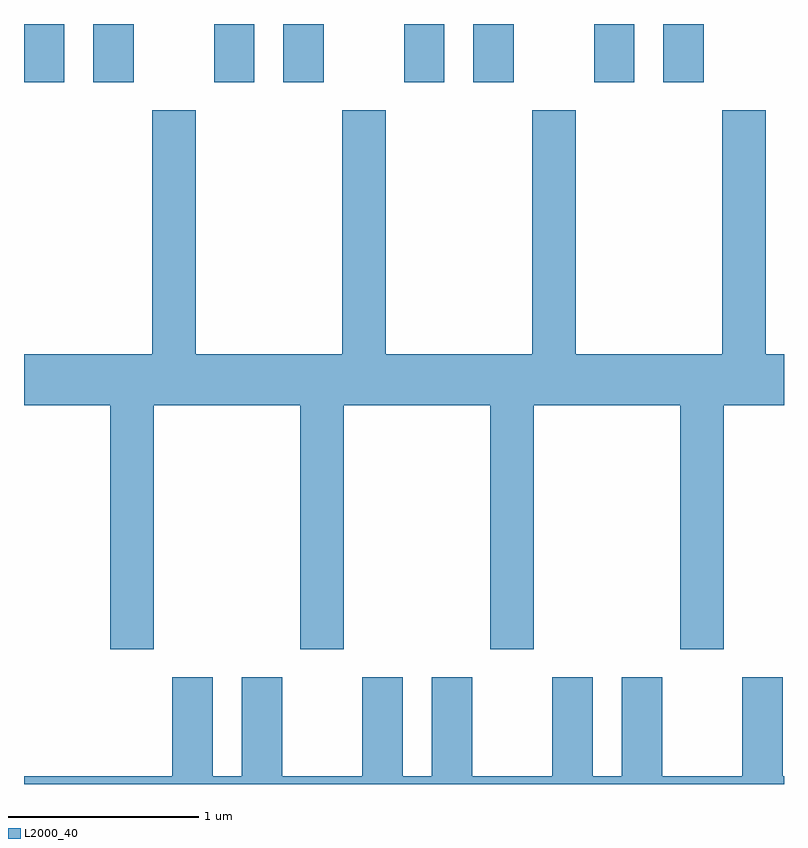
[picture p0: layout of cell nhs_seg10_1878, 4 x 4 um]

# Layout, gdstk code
import gdstk
lib = gdstk.Library(unit=1e-6, precision=1e-09)
def R(c, l, rs):  # rectangles x0, y0, x1, y1
    for r in rs: c.add(gdstk.rectangle(r[:2], r[2:], *l))
def P(c, l, *ps):  # polygons
    for p in ps: c.add(gdstk.Polygon(p, *l))
L2000_40 = (2000, 40)

nhs_seg10_1878 = lib.new_cell('nhs_seg10_1878')
R(nhs_seg10_1878, L2000_40, [(239.611,2182.216,239.824,2182.522), (239.976,2182.216,240.189,2182.522), (240.611,2182.216,240.824,2182.522), (240.976,2182.216,241.189,2182.522), (241.611,2182.216,241.824,2182.522), (241.976,2182.216,242.189,2182.522), (242.611,2182.216,242.824,2182.522), (242.976,2182.216,243.189,2182.522)])
P(nhs_seg10_1878, L2000_40, [(240.294,2180.516),(241.066,2180.516),(241.066,2179.231),(241.294,2179.231),(241.294,2180.516),(242.066,2180.516),(242.066,2179.231),(242.294,2179.231),(242.294,2180.516),(243.066,2180.516),(243.066,2179.231),(243.294,2179.231),(243.294,2180.516),(243.611,2180.516),(243.611,2180.784),(243.514,2180.784),(243.514,2182.069),(243.286,2182.069),(243.286,2180.784),(242.514,2180.784),(242.514,2182.069),(242.286,2182.069),(242.286,2180.784),(241.514,2180.784),(241.514,2182.069),(241.286,2182.069),(241.286,2180.784),(240.514,2180.784),(240.514,2182.069),(240.286,2182.069),(240.286,2180.784),(239.611,2180.784),(239.611,2180.516),(240.066,2180.516),(240.066,2179.231),(240.294,2179.231)],
  [(243.611,2178.564),(243.604,2178.564),(243.604,2179.084),(243.391,2179.084),(243.391,2178.564),(242.969,2178.564),(242.969,2179.084),(242.756,2179.084),(242.756,2178.564),(242.604,2178.564),(242.604,2179.084),(242.391,2179.084),(242.391,2178.564),(241.969,2178.564),(241.969,2179.084),(241.756,2179.084),(241.756,2178.564),(241.604,2178.564),(241.604,2179.084),(241.391,2179.084),(241.391,2178.564),(240.969,2178.564),(240.969,2179.084),(240.756,2179.084),(240.756,2178.564),(240.604,2178.564),(240.604,2179.084),(240.391,2179.084),(240.391,2178.564),(239.611,2178.564),(239.611,2178.522),(243.611,2178.522)])

lib.write_gds('nhs_seg10_1878.gds')
